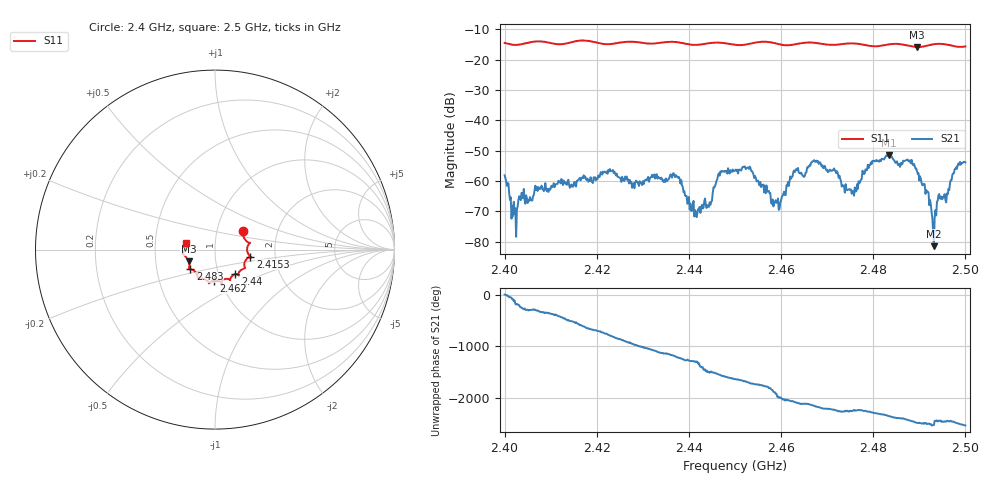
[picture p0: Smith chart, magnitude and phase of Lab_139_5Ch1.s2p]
# Hz S RI R 50
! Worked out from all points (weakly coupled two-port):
!   601 points, 2.4 GHz to 2.5 GHz, reference 50 ohm
!   highest |S21| = -51.55 dB at 2.4833 GHz (marker M1); lowest = -81.5 dB at 2.4932 GHz (marker M2)
!   lowest |S11| = -15.9 dB at 2.4895 GHz (marker M3), VSWR 1.38, Z = 37 - j5.01 ohm
!   |S11| at or under -10 dB: start of sweep to end of sweep
!   S12 and S22 are empty: the file has one direction only
!   S11 on the Smith chart (normalised r, x): 2.4 GHz: 1.33, +0.29; 2.4153 GHz: 1.48, -0.12; 2.44 GHz: 1.20, -0.34; 2.462 GHz: 0.93, -0.33; 2.483 GHz: 0.74, -0.17; 2.5 GHz: 0.72, +0.06
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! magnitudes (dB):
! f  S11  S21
! 2.4 GHz  -14.5  -58.1
! 2.402 GHz  -15.1  -66.9
! 2.4037 GHz  -14.9  -64.0
! 2.4153 GHz  -14.0  -61.5
! 2.4167 GHz  -13.7  -59.2
! 2.4333 GHz  -14.5  -58.6
! 2.4375 GHz  -14.3  -58.8
! 2.44 GHz  -15.0  -65.3
! 2.4443 GHz  -14.6  -68.6
! 2.4468 GHz  -14.4  -56.9
! 2.45 GHz  -15.1  -56.5
! 2.4532 GHz  -14.8  -55.3
! 2.4592 GHz  -14.8  -67.0
! 2.462 GHz  -15.2  -58.6
! 2.4667 GHz  -14.4  -53.9
! 2.4758 GHz  -14.7  -64.9
! 2.483 GHz  -15.1  -51.7
! 2.4833 GHz  -15.0  -51.5
! 2.4895 GHz  -15.9  -56.9
! 2.4932 GHz  -14.9  -81.5
! 2.4943 GHz  -14.8  -64.3
! 2.5 GHz  -15.7  -53.9
